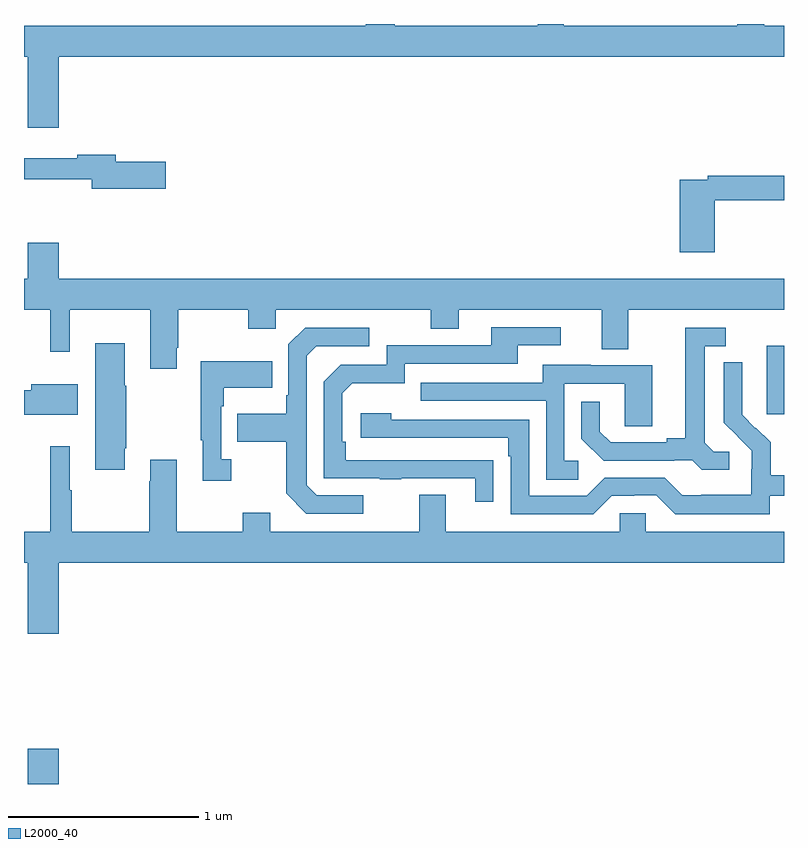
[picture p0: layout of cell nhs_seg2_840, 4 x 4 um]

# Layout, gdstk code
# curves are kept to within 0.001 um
import gdstk
lib = gdstk.Library(unit=1e-6, precision=1e-09)
def R(c, l, rs):  # rectangles x0, y0, x1, y1
    for r in rs: c.add(gdstk.rectangle(r[:2], r[2:], *l))
def P(c, l, *ps):  # polygons
    for p in ps: c.add(gdstk.Polygon(p, *l))
L2000_40 = (2000, 40)

nhs_seg2_840 = lib.new_cell('nhs_seg2_840')
R(nhs_seg2_840, L2000_40, [(153.02,651.8,153.184,651.985), (156.908,653.745,157,654.106)])
P(nhs_seg2_840, L2000_40, [(153.184,655.628),(157,655.628),(157,655.792),(156.895,655.792),(156.895,655.8),(156.755,655.8),(156.755,655.792),(155.841,655.792),(155.841,655.8),(155.703,655.8),(155.703,655.792),(154.951,655.792),(154.951,655.8),(154.799,655.8),(154.799,655.792),(153,655.792),(153,655.628),(153.02,655.628),(153.02,655.254),(153.184,655.254)],
  [(153.745,655.076),(153.484,655.076),(153.484,655.112),(153.28,655.112),(153.28,655.093),(153,655.093),(153,654.984),(153.356,654.984),(153.356,654.934),(153.745,654.934)],
  [(156.635,654.873),(157,654.873),(157,655.001),(156.598,655.001),(156.598,654.981),(156.452,654.981),(156.452,654.6),(156.635,654.6)],
  [(153.805,654.097),(153.813,654.097),(153.813,654.296),(154.18,654.296),(154.18,654.197),(154.326,654.197),(154.326,654.296),(155.14,654.296),(155.14,654.197),(155.287,654.197),(155.287,654.296),(156.041,654.296),(156.041,654.088),(156.181,654.088),(156.181,654.296),(157,654.296),(157,654.46),(153.184,654.46),(153.184,654.649),(153.02,654.649),(153.02,654.46),(153,654.46),(153,654.296),(153.137,654.296),(153.137,654.075),(153.241,654.075),(153.241,654.296),(153.665,654.296),(153.665,653.985),(153.805,653.985)],
  [(155.471,653.504),(154.694,653.505),(154.694,653.602),(154.674,653.602),(154.674,653.856),(154.727,653.909),(155.004,653.909),(155.004,654.012),(155.599,654.012),(155.599,654.108),(155.824,654.108),(155.824,654.204),(155.459,654.204),(155.459,654.108),(154.908,654.108),(154.908,654.006),(154.668,654.006),(154.578,653.916),(154.578,653.409),(154.873,653.409),(154.873,653.404),(154.985,653.404),(154.985,653.409),(155.375,653.409),(155.375,653.286),(155.471,653.286)],
  [(156.712,653.55),(156.63,653.55),(156.583,653.597),(156.583,654.105),(156.694,654.105),(156.694,654.201),(156.479,654.201),(156.479,653.621),(156.383,653.621),(156.383,653.598),(156.088,653.598),(156.031,653.655),(156.031,653.812),(155.934,653.812),(155.934,653.618),(156.05,653.502),(156.422,653.502),(156.422,653.505),(156.516,653.505),(156.568,653.453),(156.712,653.453)],
  [(154.786,653.319),(154.542,653.319),(154.488,653.373),(154.488,654.054),(154.539,654.105),(154.816,654.105),(154.816,654.201),(154.479,654.201),(154.392,654.114),(154.392,653.845),(154.38,653.845),(154.38,653.749),(154.123,653.749),(154.123,653.602),(154.38,653.602),(154.38,653.329),(154.485,653.223),(154.786,653.223)],
  [(153.529,653.566),(153.537,653.566),(153.537,653.897),(153.529,653.897),(153.529,654.121),(153.374,654.121),(153.374,653.454),(153.529,653.454)],
  [(154.09,653.51),(154.038,653.51),(154.038,653.789),(154.051,653.789),(154.051,653.885),(154.307,653.885),(154.307,654.025),(153.93,654.025),(153.93,653.609),(153.941,653.609),(153.941,653.397),(154.09,653.397)],
  [(156.924,653.316),(157,653.316),(157,653.425),(156.929,653.425),(156.929,653.599),(156.852,653.676),(156.849,653.673),(156.779,653.744),(156.78,654.02),(156.684,654.02),(156.684,653.702),(156.83,653.554),(156.83,653.457),(156.828,653.457),(156.828,653.323),(156.565,653.323),(156.565,653.319),(156.465,653.319),(156.372,653.412),(156.057,653.412),(155.961,653.316),(155.658,653.316),(155.658,653.718),(154.934,653.718),(154.934,653.752),(154.773,653.752),(154.773,653.622),(155.549,653.622),(155.549,653.525),(155.562,653.525),(155.562,653.22),(155.997,653.22),(156.093,653.316),(156.212,653.316),(156.212,653.319),(156.327,653.319),(156.427,653.219),(156.924,653.219)],
  [(155.917,653.502),(155.844,653.502),(155.844,653.907),(156.162,653.907),(156.162,653.683),(156.307,653.683),(156.307,654.003),(155.983,654.003),(155.983,654.007),(155.729,654.007),(155.729,653.913),(155.089,653.913),(155.089,653.817),(155.748,653.817),(155.748,653.401),(155.917,653.401)],
  [(153.283,653.905),(153.038,653.905),(153.038,653.873),(153,653.873),(153,653.744),(153.283,653.744)],
  [(153.184,652.964),(157,652.964),(157,653.128),(156.273,653.128),(156.273,653.226),(156.135,653.226),(156.135,653.128),(155.221,653.128),(155.221,653.323),(155.081,653.323),(155.081,653.128),(154.297,653.128),(154.297,653.227),(154.15,653.227),(154.15,653.128),(153.805,653.128),(153.805,653.506),(153.665,653.506),(153.665,653.393),(153.658,653.393),(153.658,653.128),(153.251,653.128),(153.251,653.345),(153.241,653.345),(153.241,653.578),(153.137,653.578),(153.137,653.128),(153,653.128),(153,652.964),(153.02,652.964),(153.02,652.59),(153.184,652.59)])

lib.write_gds('nhs_seg2_840.gds')
